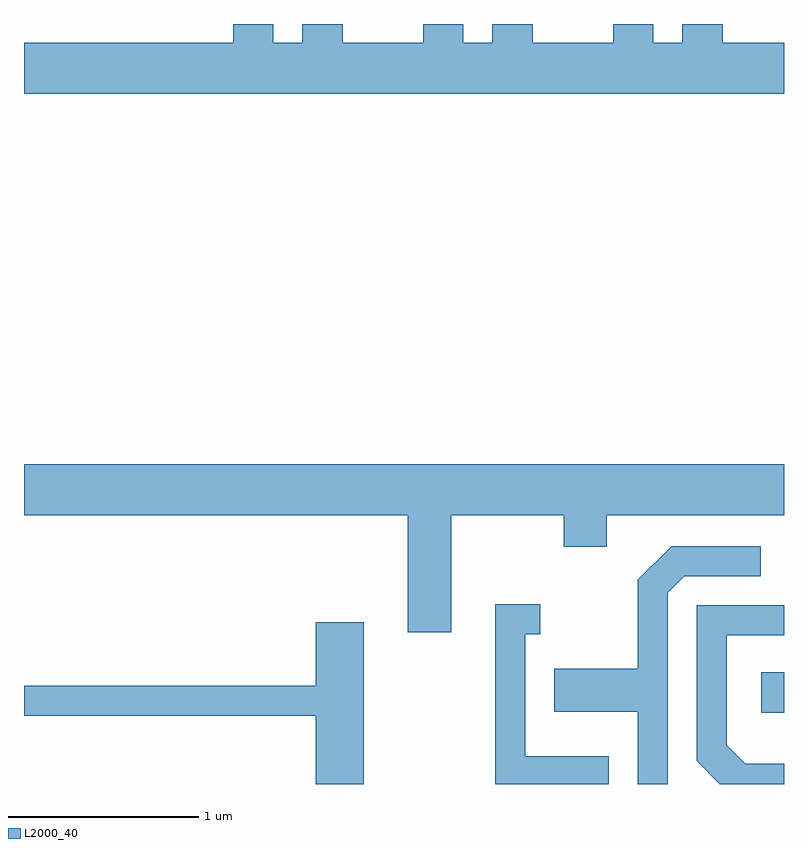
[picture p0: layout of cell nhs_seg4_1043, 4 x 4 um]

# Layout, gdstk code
import gdstk
lib = gdstk.Library(unit=1e-6, precision=1e-09)
def R(c, l, rs):  # rectangles x0, y0, x1, y1
    for r in rs: c.add(gdstk.rectangle(r[:2], r[2:], *l))
def P(c, l, *ps):  # polygons
    for p in ps: c.add(gdstk.Polygon(p, *l))
L2000_40 = (2000, 40)

nhs_seg4_1043 = lib.new_cell('nhs_seg4_1043')
R(nhs_seg4_1043, L2000_40, [(219.491,1300.356,219.611,1300.569)])
P(nhs_seg4_1043, L2000_40, [(219.611,1303.884),(219.289,1303.884),(219.289,1303.982),(219.076,1303.982),(219.076,1303.884),(218.924,1303.884),(218.924,1303.982),(218.711,1303.982),(218.711,1303.884),(218.289,1303.884),(218.289,1303.982),(218.076,1303.982),(218.076,1303.884),(217.924,1303.884),(217.924,1303.982),(217.711,1303.982),(217.711,1303.884),(217.289,1303.884),(217.289,1303.982),(217.076,1303.982),(217.076,1303.884),(216.924,1303.884),(216.924,1303.982),(216.711,1303.982),(216.711,1303.884),(215.611,1303.884),(215.611,1303.616),(219.611,1303.616)],
  [(217.859,1301.396),(218.451,1301.396),(218.451,1301.231),(218.679,1301.231),(218.679,1301.396),(219.611,1301.396),(219.611,1301.664),(215.611,1301.664),(215.611,1301.396),(217.631,1301.396),(217.631,1300.781),(217.859,1300.781)],
  [(218.999,1300.989),(219.087,1301.076),(219.488,1301.076),(219.488,1301.234),(219.019,1301.234),(218.841,1301.057),(218.841,1300.589),(218.401,1300.589),(218.401,1300.361),(218.841,1300.361),(218.841,1299.982),(218.999,1299.982)],
  [(218.689,1300.129),(218.249,1300.129),(218.249,1300.771),(218.328,1300.771),(218.328,1300.929),(218.091,1300.929),(218.091,1299.982),(218.689,1299.982)],
  [(219.611,1300.089),(219.407,1300.089),(219.309,1300.187),(219.309,1300.766),(219.611,1300.766),(219.611,1300.924),(219.151,1300.924),(219.151,1300.104),(219.273,1299.982),(219.611,1299.982)],
  [(217.399,1300.834),(217.146,1300.834),(217.146,1300.499),(215.611,1300.499),(215.611,1300.341),(217.146,1300.341),(217.146,1299.982),(217.399,1299.982)])

lib.write_gds('nhs_seg4_1043.gds')
